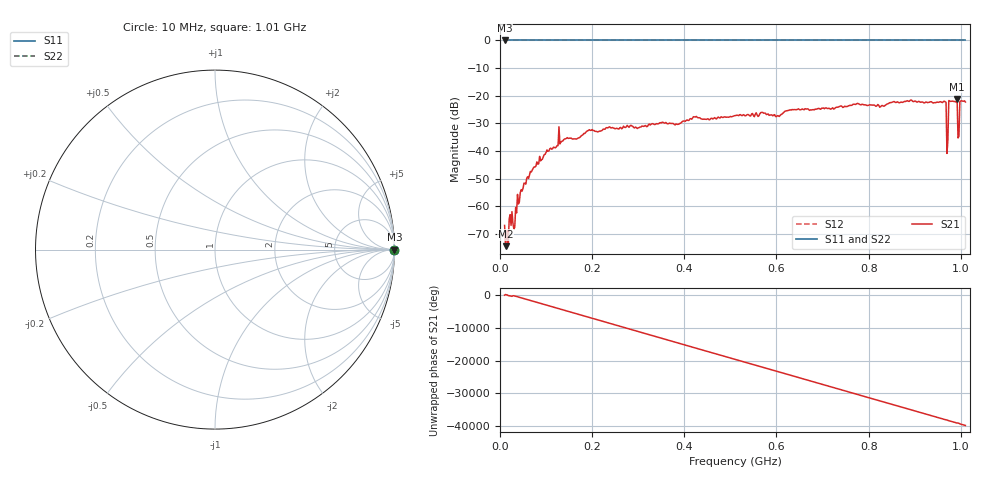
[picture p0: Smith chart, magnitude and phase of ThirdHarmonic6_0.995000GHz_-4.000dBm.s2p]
! 8/16/2025 7:56:10 AM
! C:\ANRITSUVNA\TEMP\TEMP.S2P
! CHANNEL.1
! TR.MEASUREMENT
! RAW.DATA
! RF.CORRECTION.OFF
! AVERAGING.OFF
! IF.BANDWIDTH: 5KHZ
! SWEEPTYPE:  FREQ.SWEEP(Linear)
! Reference Plane Port Info
! PORT:  PORT1  PORT2
! DISTANCE:  0  m  0  m
! TIME:  0  s  0  s
! PHASE.OFFSET:  0  deg.  0  deg.
! LOSS:  0  dB  0  dB
! REF.LOSS:  0  dB  0  dB
! REF.FREQ:  0  Hz  0  Hz
! Power Info
! POWER:  -20  dBm  -20  dBm
! EFF.POWER:  -20  dBm  -20  dBm
! SOURCE.ATTEN:  0  dB  0  dB
! TEST.ATTEN:  0  dB  0  dB
# GHZ S RI R 50.0
! FREQ.GHZ  S11RE  S11IM  S21RE  S21IM  S12RE  S12IM  S22RE  S22IM
!; PortSelection: Port_12
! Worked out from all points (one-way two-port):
!   501 points, 10 MHz to 1.01 GHz, reference 50 ohm
!   highest |S21| = -21.15 dB at 992 MHz (marker M1); lowest = -74.4 dB at 12 MHz (marker M2)
!   lowest |S11| = 0.0 dB at 10 MHz (marker M3)
!   |S11| at or under -10 dB: nowhere
!   |S22| runs from 0.0 to 0.0 dB; largest |S21 - S12| = 1.1
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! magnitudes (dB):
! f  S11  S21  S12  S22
! 10 MHz  0.0  -66.9  0.0  0.0
! 12 MHz  0.0  -74.4  0.0  0.0
! 16 MHz  0.0  -68.8  0.0  0.0
! 24 MHz  0.0  -66.9  0.0  0.0
! 32 MHz  0.0  -67.6  0.0  0.0
! 48 MHz  0.0  -54.5  0.0  0.0
! 82 MHz  0.0  -44.7  0.0  0.0
! 132 MHz  0.0  -36.8  0.0  0.0
! 178 MHz  0.0  -34.3  0.0  0.0
! 344 MHz  0.0  -30.1  0.0  0.0
! 510 MHz  0.0  -27.2  0.0  0.0
! 678 MHz  0.0  -25.0  0.0  0.0
! 844 MHz  0.0  -22.7  0.0  0.0
! 964 MHz  0.0  -22.0  0.0  0.0
! 968 MHz  0.0  -22.4  0.0  0.0
! 974 MHz  0.0  -21.7  0.0  0.0
! 978 MHz  0.0  -22.0  0.0  0.0
! 988 MHz  0.0  -22.2  0.0  0.0
! 992 MHz  0.0  -21.2  0.0  0.0
! 998 MHz  0.0  -22.1  0.0  0.0
! 1.002 GHz  0.0  -21.8  0.0  0.0
! 1.01 GHz  0.0  -22.3  0.0  0.0
